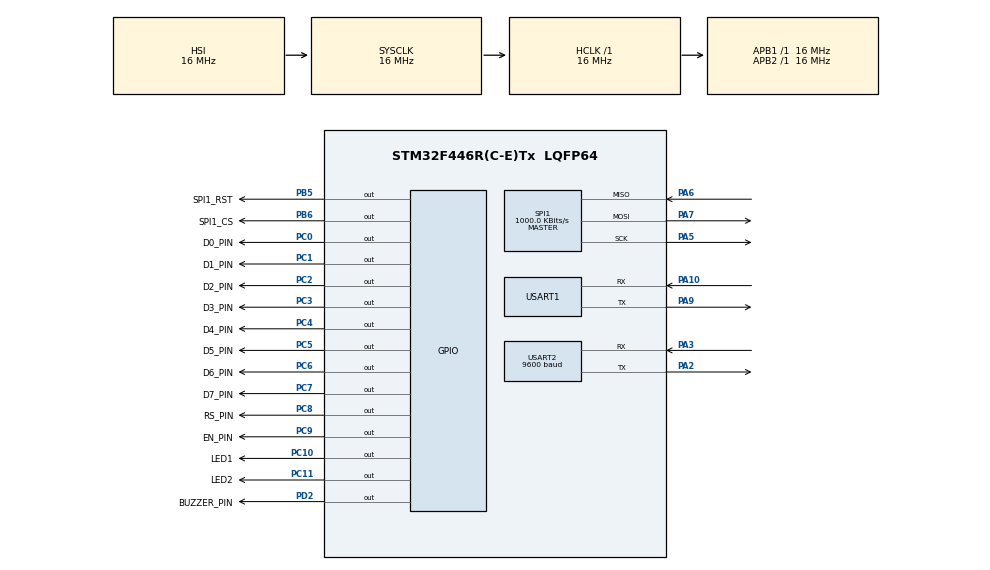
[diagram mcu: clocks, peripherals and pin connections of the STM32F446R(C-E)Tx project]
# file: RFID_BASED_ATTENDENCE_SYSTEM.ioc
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Mcu.Family=STM32F4
Mcu.Name=STM32F446R(C-E)Tx
Mcu.Package=LQFP64
NVIC.PriorityGroup=NVIC_PRIORITYGROUP_4
NVIC.USART1_IRQn=true\:0\:0\:false\:false\:true\:true\:true\:true
PA10.Mode=Asynchronous
PA10.Signal=USART1_RX
PA2.Mode=Asynchronous
PA2.Signal=USART2_TX
PA3.Mode=Asynchronous
PA3.Signal=USART2_RX
PA5.Mode=Full_Duplex_Master
PA5.Signal=SPI1_SCK
PA6.Mode=Full_Duplex_Master
PA6.Signal=SPI1_MISO
PA7.Mode=Full_Duplex_Master
PA7.Signal=SPI1_MOSI
PA9.Mode=Asynchronous
PA9.Signal=USART1_TX
PB5.GPIO_Label=SPI1_RST
PB5.Signal=GPIO_Output
PB6.GPIO_Label=SPI1_CS
PB6.Signal=GPIO_Output
PC0.GPIO_Label=D0_PIN
PC0.Signal=GPIO_Output
PC1.GPIO_Label=D1_PIN
PC1.Signal=GPIO_Output
PC10.GPIO_Label=LED1
PC10.Signal=GPIO_Output
PC11.GPIO_Label=LED2
PC11.Signal=GPIO_Output
PC14-OSC32_IN.Mode=LSE-External-Oscillator
PC14-OSC32_IN.Signal=RCC_OSC32_IN
PC15-OSC32_OUT.Mode=LSE-External-Oscillator
PC15-OSC32_OUT.Signal=RCC_OSC32_OUT
PC2.GPIO_Label=D2_PIN
PC2.Signal=GPIO_Output
PC3.GPIO_Label=D3_PIN
PC3.Signal=GPIO_Output
PC4.GPIO_Label=D4_PIN
PC4.Signal=GPIO_Output
PC5.GPIO_Label=D5_PIN
PC5.Signal=GPIO_Output
PC6.GPIO_Label=D6_PIN
PC6.Signal=GPIO_Output
PC7.GPIO_Label=D7_PIN
PC7.Signal=GPIO_Output
PC8.GPIO_Label=RS_PIN
PC8.Signal=GPIO_Output
PC9.GPIO_Label=EN_PIN
PC9.Signal=GPIO_Output
PD2.GPIO_Label=BUZZER_PIN
PD2.Signal=GPIO_Output
ProjectManager.HeapSize=0x200
ProjectManager.StackSize=0x400
ProjectManager.TargetToolchain=STM32CubeIDE
RCC.AHBFreq_Value=16000000
RCC.APB1Freq_Value=16000000
RCC.APB1TimFreq_Value=16000000
RCC.APB2Freq_Value=16000000
RCC.APB2TimFreq_Value=16000000
RCC.CortexFreq_Value=16000000
RCC.HCLKFreq_Value=16000000
RCC.HSE_VALUE=25000000
RCC.SYSCLKFreq_VALUE=16000000
RCC.USBFreq_Value=96000000
RCC.VCOOutputFreq_Value=192000000
SPI1.BaudRatePrescaler=SPI_BAUDRATEPRESCALER_16
SPI1.CalculateBaudRate=1000.0 KBits/s
SPI1.Direction=SPI_DIRECTION_2LINES
SPI1.Mode=SPI_MODE_MASTER
SPI1.VirtualType=VM_MASTER
USART1.VirtualMode=VM_ASYNC
USART2.BaudRate=9600
USART2.Mode=MODE_TX
USART2.VirtualMode=VM_ASYNC
VP_RTC_VS_RTC_Activate.Mode=RTC_Enabled
VP_RTC_VS_RTC_Calendar.Mode=RTC_Calendar
board=custom

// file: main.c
/* USER CODE BEGIN Header */
/**
  ******************************************************************************
  * @file           : main.c
  * @brief          : Main program body
  ******************************************************************************
  * @attention
  *
  * Copyright (c) 2026 STMicroelectronics.
  * All rights reserved.
  *
  * This software is licensed under terms that can be found in the LICENSE file
  * in the root directory of this software component.
  * If no LICENSE file comes with this software, it is provided AS-IS.
  *
  ******************************************************************************
  */
/* USER CODE END Header */
#include "main.h"

/* USER CODE BEGIN Includes */
#include "MFRC522.h"
#include "LCD.h"
#include "RTC.h"
#include "string.h"
/* USER CODE END Includes */

RTC_HandleTypeDef hrtc;

SPI_HandleTypeDef hspi1;

UART_HandleTypeDef huart1;
UART_HandleTypeDef huart2;

void SystemClock_Config(void);
static void MX_GPIO_Init(void);
static void MX_SPI1_Init(void);
static void MX_USART2_UART_Init(void);
static void MX_RTC_Init(void);
static void MX_USART1_UART_Init(void);

/* USER CODE BEGIN 0 */
int _write(int fd, unsigned char *buf, int len)
{
	if(fd == 1 || fd == 2)
	{
		HAL_UART_Transmit(&huart2, buf, len, 999);
	}

	return len;
}

uint8_t uid_buffer[5], User1_Flag = 0, User2_Flag = 0;

MFRC522_t rfid = {&hspi1, SPI1_CS_GPIO_Port, SPI1_CS_Pin, SPI1_RST_GPIO_Port, SPI1_RST_Pin};

char Scan_Card[] = "Scan Card", User1[] = "Shrvan", User2[] = "Yashraj",
     User1_TAG[] = "A1 1D 2C 1F", User2_TAG[] = "03 3C 6F 21",
	 Check_In[] = "Check-In",Check_Out[] = "Check-Out";

char TX_BUFFER[128];

/* USER CODE END 0 */

int main(void)
{

  /* MCU Configuration--------------------------------------------------------*/

  /* Reset of all peripherals, Initializes the Flash interface and the Systick. */
  HAL_Init();

  /* Configure the system clock */
  SystemClock_Config();

  /* Initialize all configured peripherals */
  MX_GPIO_Init();
  MX_SPI1_Init();
  MX_USART2_UART_Init();
  MX_RTC_Init();
  MX_USART1_UART_Init();
  /* USER CODE BEGIN 2 */

  MFRC522_Init(&rfid);

  LCD_INIT();
  LCD_COMMAND(0x01);
  LCD_COMMAND(0x80);
  LCD_STRING(Scan_Card);

  setvbuf(stdout, NULL, _IONBF, 0);

  if(HAL_RTCEx_BKUPRead(&hrtc, RTC_BKP_DR1) != 0x2345)
  {
	  set_time(16,03,00);
	  set_date(26,05,07,4);
  }

  set_time(18,11,00);
  set_date(26,05,9,6);

  char timeData[20];
  char dateData[20];

  HAL_GPIO_WritePin(BUZZER_PIN_GPIO_Port, BUZZER_PIN_Pin, GPIO_PIN_RESET);
  /* USER CODE END 2 */

  /* Infinite loop */
  while (1)
  {

    /* USER CODE BEGIN 3 */

	  if(WaitCardDetect(&rfid) == STATUS_OK)
	  {
		  if(MFRC522_Read_Uid(&rfid,uid_buffer) ==  STATUS_OK)
		  {
			  USER_LOG("CARD_ID:%02X %02X %02X %02X", uid_buffer[0], uid_buffer[1], uid_buffer[2], uid_buffer[3]);

		      if((uid_buffer[0] == 0xA1) && (uid_buffer[1] == 0x1D) && (uid_buffer[2] == 0x2C) && (uid_buffer[3] == 0x1F))
		      {
		    	  get_time_date(timeData,dateData);

		    	  if(User1_Flag == 0)
		    	  {

		    		  HAL_GPIO_WritePin(BUZZER_PIN_GPIO_Port, BUZZER_PIN_Pin, GPIO_PIN_SET);

			    	  snprintf(TX_BUFFER,sizeof(TX_BUFFER),"%s\r\n%s\r\n%s\r\n%s\r\n%s\r\n", User1, User1_TAG, dateData, timeData, Check_In);

			    	  HAL_UART_Transmit_IT (&huart1, (uint8_t *) TX_BUFFER, strlen(TX_BUFFER));

			    	  //HAL_UART_Transmit(&huart1,(uint8_t *)TX_BUFFER, strlen(TX_BUFFER),100);

			    	  HAL_GPIO_WritePin(LED1_GPIO_Port, LED1_Pin, GPIO_PIN_SET);

			    	  LCD_COMMAND(0x01);
			    	  LCD_COMMAND(0x80);
			    	  LCD_STRING(User1);

			    	  LCD_COMMAND(0xC0);
			    	  LCD_STRING(Check_In);
			    	  HAL_Delay(4000);

			    	  LCD_COMMAND(0x01);
			       	  LCD_COMMAND(0x80);
			    	  LCD_STRING(dateData);

			       	  LCD_COMMAND(0xC0);
			    	  LCD_STRING(timeData);
			    	  HAL_Delay(2000);

			    	  HAL_GPIO_WritePin(LED1_GPIO_Port, LED1_Pin, GPIO_PIN_RESET);
			    	  HAL_GPIO_WritePin(BUZZER_PIN_GPIO_Port, BUZZER_PIN_Pin, GPIO_PIN_RESET);

			    	  LCD_COMMAND(0x01);
			    	  LCD_STRING(Scan_Card);

			    	  User1_Flag = 1;
		    	  }

		    	  else
		    	  {
		    		  HAL_GPIO_WritePin(BUZZER_PIN_GPIO_Port, BUZZER_PIN_Pin, GPIO_PIN_SET);

			    	  snprintf(TX_BUFFER, sizeof(TX_BUFFER), "%s\r\n%s\r\n%s\r\n%s\r\n%s\r\n", User1, User1_TAG, dateData, timeData, Check_Out);

			    	  HAL_UART_Transmit_IT (&huart1, (uint8_t *) TX_BUFFER, strlen(TX_BUFFER));

			    	  //HAL_UART_Transmit(&huart1,(uint8_t *)TX_BUFFER, strlen(TX_BUFFER),100);

			    	  HAL_GPIO_WritePin(LED1_GPIO_Port, LED1_Pin, GPIO_PIN_SET);

			    	  LCD_COMMAND(0x01);
			    	  LCD_COMMAND(0x80);
			    	  LCD_STRING(User1);

			    	  LCD_COMMAND(0xC0);
			    	  LCD_STRING(Check_Out);
			    	  HAL_Delay(4000);

			    	  LCD_COMMAND(0x01);
			       	  LCD_COMMAND(0x80);
			    	  LCD_STRING(dateData);

			       	  LCD_COMMAND(0xC0);
			    	  LCD_STRING(timeData);
			    	  HAL_Delay(2000);

			    	  HAL_GPIO_WritePin(LED1_GPIO_Port, LED1_Pin, GPIO_PIN_RESET);
			    	  HAL_GPIO_WritePin(BUZZER_PIN_GPIO_Port, BUZZER_PIN_Pin, GPIO_PIN_RESET);

			    	  LCD_COMMAND(0x01);
			    	  LCD_STRING(Scan_Card);
			    	  User1_Flag = 0;		    	  }
		      }

		      else if((uid_buffer[0] == 0x03) && (uid_buffer[1] == 0x3C) && (uid_buffer[2] == 0x6F) && (uid_buffer[3] == 0x21))
		      {
		    	  get_time_date(timeData,dateData);

		    	  if(User2_Flag == 0)
		    	  {
		    		  HAL_GPIO_WritePin(BUZZER_PIN_GPIO_Port, BUZZER_PIN_Pin, GPIO_PIN_SET);

			    	  snprintf(TX_BUFFER,sizeof(TX_BUFFER),"%s\r\n%s\r\n%s\r\n%s\r\n%s\r\n", User2, User2_TAG, dateData, timeData, Check_In);

			    	  HAL_UART_Transmit_IT (&huart1, (uint8_t *) TX_BUFFER, strlen(TX_BUFFER));

			    	  //HAL_UART_Transmit(&huart1,(uint8_t *)TX_BUFFER, strlen(TX_BUFFER),100);

			      	  HAL_GPIO_WritePin(LED2_GPIO_Port, LED2_Pin, GPIO_PIN_SET);

			    	  LCD_COMMAND(0x01);
			    	  LCD_COMMAND(0x80);
			    	  LCD_STRING(User2);

			    	  LCD_COMMAND(0xC0);
			       	  LCD_STRING(Check_In);
			     	  HAL_Delay(4000);

			    	  LCD_COMMAND(0x01);
			       	  LCD_COMMAND(0x80);
			    	  LCD_STRING(dateData);

			       	  LCD_COMMAND(0xC0);
			    	  LCD_STRING(timeData);
			    	  HAL_Delay(2000);

			       	  HAL_GPIO_WritePin(LED2_GPIO_Port, LED2_Pin, GPIO_PIN_RESET);
			       	  HAL_GPIO_WritePin(BUZZER_PIN_GPIO_Port, BUZZER_PIN_Pin, GPIO_PIN_RESET);

			        	LCD_COMMAND(0x01);
			       	  LCD_STRING(Scan_Card);
			       	User2_Flag = 1;
		    	  }

		    	  else
		    	  {
		    		  HAL_GPIO_WritePin(BUZZER_PIN_GPIO_Port, BUZZER_PIN_Pin, GPIO_PIN_SET);

			    	  snprintf(TX_BUFFER,sizeof(TX_BUFFER),"%s\r\n%s\r\n%s\r\n%s\r\n%s\r\n", User2, User2_TAG, dateData, timeData, Check_Out);

			    	  HAL_UART_Transmit_IT (&huart1, (uint8_t *) TX_BUFFER, strlen(TX_BUFFER));

			    	  //HAL_UART_Transmit(&huart1,(uint8_t *)TX_BUFFER, strlen(TX_BUFFER),100);

			      	  HAL_GPIO_WritePin(LED2_GPIO_Port, LED2_Pin, GPIO_PIN_SET);

			    	  LCD_COMMAND(0x01);
			    	  LCD_COMMAND(0x80);
			    	  LCD_STRING(User2);

			    	  LCD_COMMAND(0xC0);
			       	  LCD_STRING(Check_Out);
			     	  HAL_Delay(4000);

			    	  LCD_COMMAND(0x01);
			       	  LCD_COMMAND(0x80);
			    	  LCD_STRING(dateData);

			       	  LCD_COMMAND(0xC0);
			    	  LCD_STRING(timeData);
			    	  HAL_Delay(2000);

			       	  HAL_GPIO_WritePin(LED2_GPIO_Port, LED2_Pin, GPIO_PIN_RESET);
			       	  HAL_GPIO_WritePin(BUZZER_PIN_GPIO_Port, BUZZER_PIN_Pin, GPIO_PIN_RESET);

			       	LCD_COMMAND(0x01);
			       	  LCD_STRING(Scan_Card);
			          User2_Flag = 0;
		    	  }
		      }

		      else
		      {

		    	  HAL_UART_Transmit_IT (&huart1, (uint8_t *) "ACCESS DENIED", 13);
		    	  LCD_COMMAND(0x01);
		    	  LCD_COMMAND(0x80);

		    	  LCD_STRING("ACCESS DENIED");
		    	  HAL_Delay(4000);

		    	  LCD_COMMAND(0x01);
		    	  LCD_STRING(Scan_Card);
		      }
		  }
		  WaitCardRemoval(&rfid);
	  }
  }
  /* USER CODE END 3 */
}

void SystemClock_Config(void)
{
  RCC_OscInitTypeDef RCC_OscInitStruct = {0};
  RCC_ClkInitTypeDef RCC_ClkInitStruct = {0};

  /** Configure the main internal regulator output voltage
  */
  __HAL_RCC_PWR_CLK_ENABLE();
  __HAL_PWR_VOLTAGESCALING_CONFIG(PWR_REGULATOR_VOLTAGE_SCALE3);

  /** Initializes the RCC Oscillators according to the specified parameters
  * in the RCC_OscInitTypeDef structure.
  */
  RCC_OscInitStruct.OscillatorType = RCC_OSCILLATORTYPE_HSI|RCC_OSCILLATORTYPE_LSI;
  RCC_OscInitStruct.LSEState = RCC_LSE_ON;
  RCC_OscInitStruct.HSIState = RCC_HSI_ON;
  RCC_OscInitStruct.HSICalibrationValue = RCC_HSICALIBRATION_DEFAULT;
  RCC_OscInitStruct.LSIState = RCC_LSI_ON;
  RCC_OscInitStruct.PLL.PLLState = RCC_PLL_NONE;
  if (HAL_RCC_OscConfig(&RCC_OscInitStruct) != HAL_OK)
  {
    Error_Handler();
  }

  /** Initializes the CPU, AHB and APB buses clocks
  */
  RCC_ClkInitStruct.ClockType = RCC_CLOCKTYPE_HCLK|RCC_CLOCKTYPE_SYSCLK
                              |RCC_CLOCKTYPE_PCLK1|RCC_CLOCKTYPE_PCLK2;
  RCC_ClkInitStruct.SYSCLKSource = RCC_SYSCLKSOURCE_HSI;
  RCC_ClkInitStruct.AHBCLKDivider = RCC_SYSCLK_DIV1;
  RCC_ClkInitStruct.APB1CLKDivider = RCC_HCLK_DIV1;
  RCC_ClkInitStruct.APB2CLKDivider = RCC_HCLK_DIV1;

  if (HAL_RCC_ClockConfig(&RCC_ClkInitStruct, FLASH_LATENCY_0) != HAL_OK)
  {
    Error_Handler();
  }
}

static void MX_RTC_Init(void)
{

  RTC_TimeTypeDef sTime = {0};
  RTC_DateTypeDef sDate = {0};

  /** Initialize RTC Only
  */
  hrtc.Instance = RTC;
  hrtc.Init.HourFormat = RTC_HOURFORMAT_24;
  hrtc.Init.AsynchPrediv = 127;
  hrtc.Init.SynchPrediv = 255;
  hrtc.Init.OutPut = RTC_OUTPUT_DISABLE;
  hrtc.Init.OutPutPolarity = RTC_OUTPUT_POLARITY_HIGH;
  hrtc.Init.OutPutType = RTC_OUTPUT_TYPE_OPENDRAIN;
  if (HAL_RTC_Init(&hrtc) != HAL_OK)
  {
    Error_Handler();
  }

  /** Initialize RTC and set the Time and Date
  */
  sTime.Hours = 0x0;
  sTime.Minutes = 0x0;
  sTime.Seconds = 0x0;
  sTime.DayLightSaving = RTC_DAYLIGHTSAVING_NONE;
  sTime.StoreOperation = RTC_STOREOPERATION_RESET;
  if (HAL_RTC_SetTime(&hrtc, &sTime, RTC_FORMAT_BCD) != HAL_OK)
  {
    Error_Handler();
  }
  sDate.WeekDay = RTC_WEEKDAY_MONDAY;
  sDate.Month = RTC_MONTH_JANUARY;
  sDate.Date = 0x1;
  sDate.Year = 0x0;

  if (HAL_RTC_SetDate(&hrtc, &sDate, RTC_FORMAT_BCD) != HAL_OK)
  {
    Error_Handler();
  }

}

static void MX_SPI1_Init(void)
{

  /* SPI1 parameter configuration*/
  hspi1.Instance = SPI1;
  hspi1.Init.Mode = SPI_MODE_MASTER;
  hspi1.Init.Direction = SPI_DIRECTION_2LINES;
  hspi1.Init.DataSize = SPI_DATASIZE_8BIT;
  hspi1.Init.CLKPolarity = SPI_POLARITY_LOW;
  hspi1.Init.CLKPhase = SPI_PHASE_1EDGE;
  hspi1.Init.NSS = SPI_NSS_SOFT;
  hspi1.Init.BaudRatePrescaler = SPI_BAUDRATEPRESCALER_16;
  hspi1.Init.FirstBit = SPI_FIRSTBIT_MSB;
  hspi1.Init.TIMode = SPI_TIMODE_DISABLE;
  hspi1.Init.CRCCalculation = SPI_CRCCALCULATION_DISABLE;
  hspi1.Init.CRCPolynomial = 10;
  if (HAL_SPI_Init(&hspi1) != HAL_OK)
  {
    Error_Handler();
  }

}

static void MX_USART1_UART_Init(void)
{

  huart1.Instance = USART1;
  huart1.Init.BaudRate = 115200;
  huart1.Init.WordLength = UART_WORDLENGTH_8B;
  huart1.Init.StopBits = UART_STOPBITS_1;
  huart1.Init.Parity = UART_PARITY_NONE;
  huart1.Init.Mode = UART_MODE_TX_RX;
  huart1.Init.HwFlowCtl = UART_HWCONTROL_NONE;
  huart1.Init.OverSampling = UART_OVERSAMPLING_16;
  if (HAL_UART_Init(&huart1) != HAL_OK)
  {
    Error_Handler();
  }

}

static void MX_USART2_UART_Init(void)
{

  huart2.Instance = USART2;
  huart2.Init.BaudRate = 9600;
  huart2.Init.WordLength = UART_WORDLENGTH_8B;
  huart2.Init.StopBits = UART_STOPBITS_1;
  huart2.Init.Parity = UART_PARITY_NONE;
  huart2.Init.Mode = UART_MODE_TX;
  huart2.Init.HwFlowCtl = UART_HWCONTROL_NONE;
  huart2.Init.OverSampling = UART_OVERSAMPLING_16;
  if (HAL_UART_Init(&huart2) != HAL_OK)
  {
    Error_Handler();
  }

}

static void MX_GPIO_Init(void)
{
  GPIO_InitTypeDef GPIO_InitStruct = {0};

  /* GPIO Ports Clock Enable */
  __HAL_RCC_GPIOC_CLK_ENABLE();
  __HAL_RCC_GPIOA_CLK_ENABLE();
  __HAL_RCC_GPIOD_CLK_ENABLE();
  __HAL_RCC_GPIOB_CLK_ENABLE();

  /*Configure GPIO pin Output Level */
  HAL_GPIO_WritePin(GPIOC, D0_PIN_Pin|D1_PIN_Pin|D2_PIN_Pin|D3_PIN_Pin
                          |D4_PIN_Pin|D5_PIN_Pin|D6_PIN_Pin|D7_PIN_Pin
                          |RS_PIN_Pin|EN_PIN_Pin|LED1_Pin|LED2_Pin, GPIO_PIN_RESET);

  /*Configure GPIO pin Output Level */
  HAL_GPIO_WritePin(BUZZER_PIN_GPIO_Port, BUZZER_PIN_Pin, GPIO_PIN_RESET);

  /*Configure GPIO pin Output Level */
  HAL_GPIO_WritePin(GPIOB, SPI1_RST_Pin|SPI1_CS_Pin, GPIO_PIN_RESET);

  /*Configure GPIO pins : D0_PIN_Pin D1_PIN_Pin D2_PIN_Pin D3_PIN_Pin
                           D4_PIN_Pin D5_PIN_Pin D6_PIN_Pin D7_PIN_Pin
                           RS_PIN_Pin EN_PIN_Pin LED1_Pin LED2_Pin */
  GPIO_InitStruct.Pin = D0_PIN_Pin|D1_PIN_Pin|D2_PIN_Pin|D3_PIN_Pin
                          |D4_PIN_Pin|D5_PIN_Pin|D6_PIN_Pin|D7_PIN_Pin
                          |RS_PIN_Pin|EN_PIN_Pin|LED1_Pin|LED2_Pin;
  GPIO_InitStruct.Mode = GPIO_MODE_OUTPUT_PP;
  GPIO_InitStruct.Pull = GPIO_NOPULL;
  GPIO_InitStruct.Speed = GPIO_SPEED_FREQ_LOW;
  HAL_GPIO_Init(GPIOC, &GPIO_InitStruct);

  /*Configure GPIO pin : BUZZER_PIN_Pin */
  GPIO_InitStruct.Pin = BUZZER_PIN_Pin;
  GPIO_InitStruct.Mode = GPIO_MODE_OUTPUT_PP;
  GPIO_InitStruct.Pull = GPIO_NOPULL;
  GPIO_InitStruct.Speed = GPIO_SPEED_FREQ_LOW;
  HAL_GPIO_Init(BUZZER_PIN_GPIO_Port, &GPIO_InitStruct);

  /*Configure GPIO pins : SPI1_RST_Pin SPI1_CS_Pin */
  GPIO_InitStruct.Pin = SPI1_RST_Pin|SPI1_CS_Pin;
  GPIO_InitStruct.Mode = GPIO_MODE_OUTPUT_PP;
  GPIO_InitStruct.Pull = GPIO_NOPULL;
  GPIO_InitStruct.Speed = GPIO_SPEED_FREQ_LOW;
  HAL_GPIO_Init(GPIOB, &GPIO_InitStruct);

}

void Error_Handler(void)
{
  __disable_irq();
  while (1)
  {
  }
}
